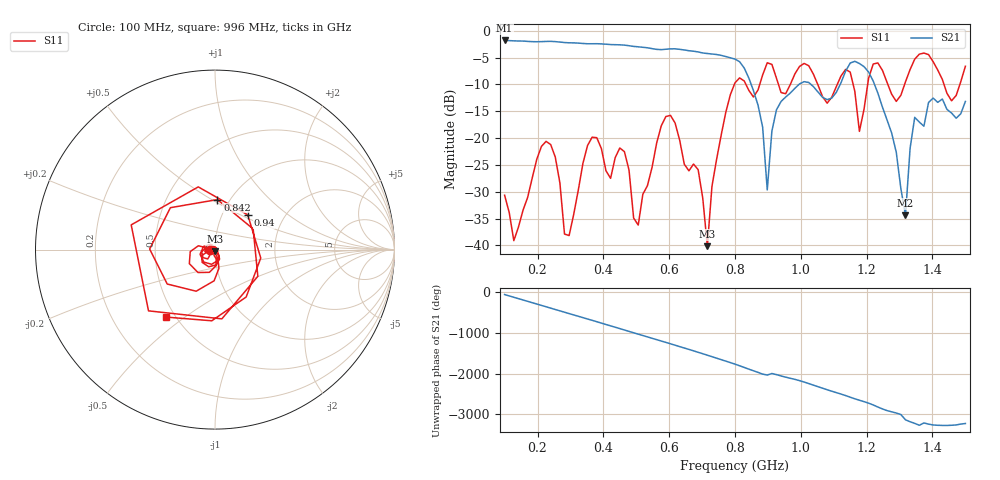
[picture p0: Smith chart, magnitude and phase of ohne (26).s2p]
! NanoVNA-App
! Date: 2025-09-25 14:21:00
! Start: 100MHz Stop: 1,5GHz Points: 101
! S-Parameter data: F S11 S21 S12 S22
# Hz S RI R 50
!  Frequency  S11_Real  S11_Imag  S21_Real  S21_Imag  S12_Real  S12_Imag  S22_Real  S22_Imag
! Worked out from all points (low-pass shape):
!   101 points, 100 MHz to 1.5 GHz, reference 50 ohm
!   highest |S21| = -1.79 dB at 100 MHz (marker M1); lowest = -34.4 dB at 1.318 GHz (marker M2)
!   |S21| within 3 dB of the highest: start of sweep to 772.2 MHz
!   lowest |S11| = -40.1 dB at 716 MHz (marker M3), VSWR 1.02, Z = 49.8 - j0.965 ohm
!   |S11| at or under -10 dB: start of sweep to 798 MHz; 833.3 MHz to 875.1 MHz (41.84 MHz wide, 4.9 % of centre); 1.052 GHz to 1.111 GHz (59.13 MHz wide, 5.47 % of centre) (the widest 3 of 7)
!   S12 and S22 are empty: the file has one direction only
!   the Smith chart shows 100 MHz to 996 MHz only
!   S11 on the Smith chart (normalised r, x): 100 MHz: 0.94, -0.01; 842 MHz: 0.88, +0.53; 940 MHz: 1.32, +0.55; 996 MHz: 0.44, -0.42
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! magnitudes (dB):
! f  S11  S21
! 100 MHz  -30.6  -1.8
! 128 MHz  -39.1  -1.9
! 226 MHz  -20.6  -2.0
! 296 MHz  -38.2  -2.2
! 338 MHz  -24.7  -2.4
! 464 MHz  -22.5  -2.7
! 506 MHz  -36.2  -3.0
! 576 MHz  -17.7  -3.5
! 688 MHz  -25.9  -3.9
! 716 MHz  -40.1  -4.2
! 800 MHz  -9.7  -5.3
! 842 MHz  -11.1  -8.8
! 898 MHz  -6.0  -29.7
! 940 MHz  -11.5  -13.2
! 996 MHz  -6.6  -9.9
! 1.038 GHz  -8.0  -10.4
! 1.178 GHz  -18.7  -6.1
! 1.22 GHz  -6.2  -9.4
! 1.276 GHz  -11.8  -19.1
! 1.318 GHz  -9.5  -34.4
! 1.346 GHz  -5.3  -16.1
! 1.5 GHz  -6.6  -13.2
